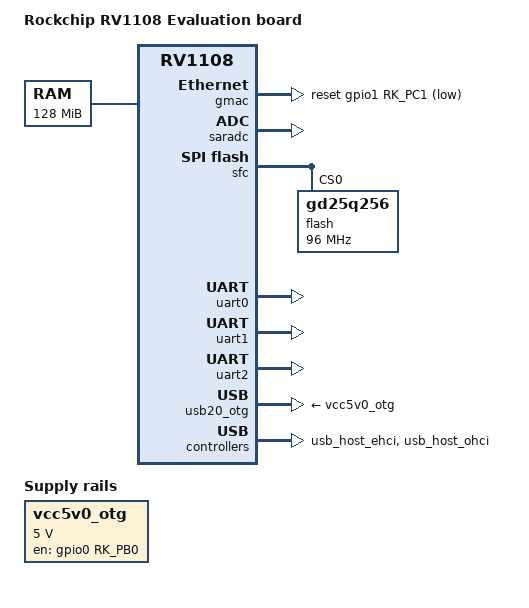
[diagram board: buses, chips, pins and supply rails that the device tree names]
// SPDX-License-Identifier: GPL-2.0+
/*
 * (C) Copyright 2016 Rockchip Electronics Co., Ltd
 */

/dts-v1/;

#include "rv1108.dtsi"

/ {
	model = "Rockchip RV1108 Evaluation board";
	compatible = "rockchip,rv1108-evb", "rockchip,rv1108";

	memory@60000000 {
		device_type = "memory";
		reg = <0x60000000 0x08000000>;
	};

	chosen {
		stdout-path = "serial2:1500000n8";
	};

	vcc5v0_otg: vcc5v0-otg-drv {
		compatible = "regulator-fixed";
		enable-active-high;
		regulator-name = "vcc5v0_otg";
		gpio = <&gpio0 RK_PB0 GPIO_ACTIVE_HIGH>;
		regulator-min-microvolt = <5000000>;
		regulator-max-microvolt = <5000000>;
	};
};

&gmac {
	status = "okay";
	clock_in_out = <0>;
	snps,reset-active-low;
	snps,reset-delays-us = <0 10000 1000000>;
	snps,reset-gpio = <&gpio1 RK_PC1 GPIO_ACTIVE_LOW>;
};

&saradc {
	status = "okay";
};

&sfc {
	status = "okay";
	flash@0 {
		compatible = "gd25q256","jedec,spi-nor";
		reg = <0>;
		spi-tx-bus-width = <1>;
		spi-rx-bus-width = <1>;
		spi-max-frequency = <96000000>;
	};
};

&uart0 {
	status = "okay";
};

&uart1 {
	status = "okay";
};

&uart2 {
	status = "okay";
};

&usb20_otg {
	vbus-supply = <&vcc5v0_otg>;
	status = "okay";
};

&usb_host_ehci {
	status = "okay";
};

&usb_host_ohci {
	status = "okay";
};
